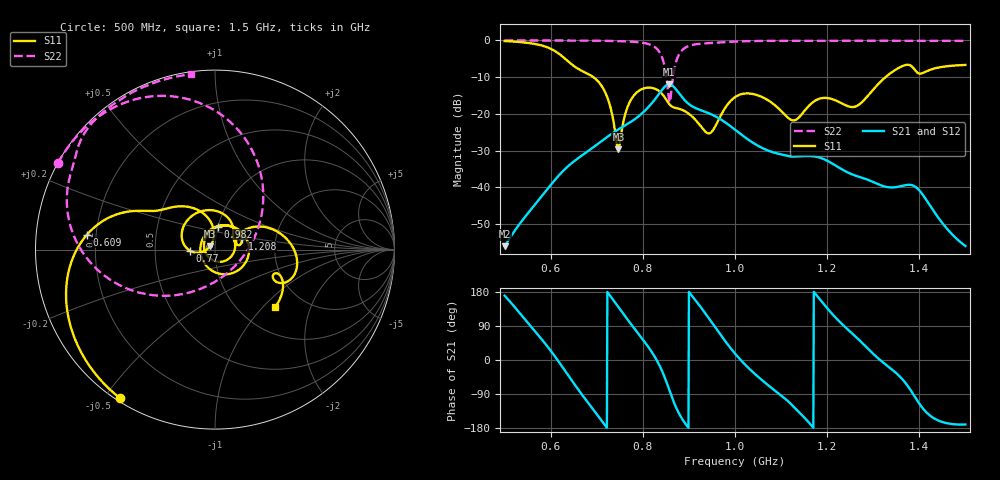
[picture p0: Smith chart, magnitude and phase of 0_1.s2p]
! TOUCHSTONE file generated by CST MICROWAVE STUDIO
! Date and time: Mon Sep 28 14:05:15 2020
! Project name: Scenario_1_Free_SPace.cst
! Parameters = {dx1=173; L_HA=400; MT=2.54; Rad_Dielectric=30; Rad_Lower=7.3; Rad_Upper=30; a_HA=580; a_WG=246; b_HA=500; b_WG=121; c_HA=0; c_WG=187; d_feed=85; h_feed=15; h_lower=18; h_upper=40}
! Header version: 2018
! Port assignment regex: !\s*Touchstone port\s*([0-9]+)\s*=\s*(CST MWS port|CST DS port)\s*([0-9]+|Zmin|Zmax)\s*\(\"(.*)\"\)(\s*mode\s*([0-9]+))?.*
! Touchstone port assignment:
! Touchstone port 1 = CST MWS port 1 ("")
! Touchstone port 2 = CST MWS port 2 ("")
# GHz S DB R 50
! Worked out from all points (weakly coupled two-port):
!   1003 points, 500 MHz to 1.5 GHz, reference 50 ohm
!   highest |S21| = -11.96 dB at 857 MHz (marker M1); lowest = -56.0 dB at 500 MHz (marker M2)
!   lowest |S11| = -29.6 dB at 747 MHz (marker M3), VSWR 1.07, Z = 47.3 + j1.69 ohm
!   |S11| at or under -10 dB: 692.7 MHz to 1.327 GHz (633.9 MHz wide, 62.8 % of centre)
!   |S22| runs from -16.9 to 0.0 dB; largest |S21 - S12| = 0.0006
!   S11 on the Smith chart (normalised r, x): 500 MHz: 0.01, -0.55; 609 MHz: 0.16, +0.06; 770 MHz: 0.76, -0.01; 982 MHz: 1.00, +0.26; 1.208 GHz: 1.34, +0.16; 1.5 GHz: 1.44, -1.18
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0.5  -0.16 -122.7  -56.00 169.8  -56.00 169.8  -0.01 151.1
0.566  -0.97 -156.5  -44.66 75.7  -44.65 75.7  -0.01 146.5
0.609  -2.88 173.3  -37.99 9.8  -37.99 9.8  -0.02 143.3
0.667  -8.24 145.9  -31.37 -89.9  -31.37 -89.9  -0.05 138.2
0.717  -13.79 106.5  -26.78 -170.5  -26.78 -170.5  -0.11 132.6
0.747  -29.59 147.4  -24.22 139.2  -24.22 139.2  -0.19 128.0
0.77  -17.18 -177.1  -22.49 101.7  -22.49 101.7  -0.30 123.3
0.834  -13.66 79.9  -14.74 -9.3  -14.74 -9.3  -2.79 84.2
0.857  -17.26 42.7  -11.96 -77.5  -11.95 -77.5  -16.37 -23.4
0.869  -18.32 31.9  -12.87 -116.6  -12.87 -116.5  -7.37 -143.6
0.89  -19.18 -0.3  -16.15 -164.0  -16.14 -164.0  -2.14 175.6
0.944  -25.30 -149.0  -19.87 108.7  -19.83 108.9  -0.73 149.4
0.982  -17.76 82.7  -22.58 44.4  -22.59 44.6  -0.41 143.1
1  -15.44 44.5  -24.29 17.0  -24.29 17.4  -0.30 140.5
1.076  -16.63 -69.1  -30.17 -70.6  -30.18 -70.6  -0.12 131.8
1.126  -21.76 -177.1  -31.61 -121.9  -31.65 -121.8  -0.10 127.3
1.167  -17.02 73.8  -31.50 -174.4  -31.52 -174.5  -0.11 124.0
1.208  -15.87 21.4  -33.28 125.6  -33.28 125.6  -0.10 120.9
1.263  -17.92 22.2  -36.87 60.3  -36.87 60.4  -0.08 116.7
1.334  -9.24 18.7  -39.97 -18.4  -39.97 -18.4  -0.09 111.4
1.393  -8.44 -27.6  -39.97 -102.2  -39.93 -102.1  -0.10 106.8
1.5  -6.67 -43.7  -55.95 -170.2  -55.75 -167.1  -0.13 97.7
